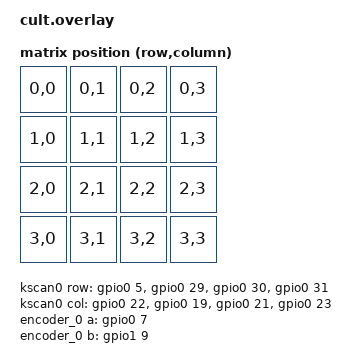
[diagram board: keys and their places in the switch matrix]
#include <dt-bindings/zmk/matrix_transform.h>
#include <dt-bindings/led/led.h>

/ {
    chosen {
        zmk,kscan            = &kscan0;
        zmk,matrix_transform = &default_transform;
        zmk,underglow        = &led_strip;
        zephyr,display       = &oled;
    };

    default_transform: keymap_transform_0 {
        compatible = "zmk,matrix-transform";
        columns = <4>;
        rows    = <4>;
        map = 
            RC(0,0) RC(0,1) RC(0,2) RC(0,3)
            RC(1,0) RC(1,1) RC(1,2) RC(1,3)
            RC(2,0) RC(2,1) RC(2,2) RC(2,3)
            RC(3,0) RC(3,1) RC(3,2) RC(3,3)
        >;
    };

    kscan0: kscan_0 {
        compatible = "zmk,kscan-gpio-matrix";
        diode-direction = "col2row";
        row-gpios
            = <&gpio0  5 (GPIO_ACTIVE_HIGH | GPIO_PULL_DOWN)>
            , <&gpio0 29 (GPIO_ACTIVE_HIGH | GPIO_PULL_DOWN)>
            , <&gpio0 30 (GPIO_ACTIVE_HIGH | GPIO_PULL_DOWN)>
            , <&gpio0 31 (GPIO_ACTIVE_HIGH | GPIO_PULL_DOWN)>
            ;
        col-gpios
            = <&gpio0 22 GPIO_ACTIVE_HIGH>
            , <&gpio0 19 GPIO_ACTIVE_HIGH>
            , <&gpio0 21 GPIO_ACTIVE_HIGH>
            , <&gpio0 23 GPIO_ACTIVE_HIGH>
            ;
    };

    encoder_0: encoder_0 {
        compatible = "alps,ec11";
        a-gpios = <&gpio0 7 (GPIO_ACTIVE_LOW | GPIO_PULL_UP)>;
        b-gpios = <&gpio1 9 (GPIO_ACTIVE_LOW | GPIO_PULL_UP)>;
        status = "okay";
    };

    zmk_sensors: zmk_sensors {
        compatible = "zmk,keymap-sensors";
        sensors = <&encoder_0>;
    };
};

&pinctrl {
    spi3_default: spi3_default {
        group1 {
            psels = <NRF_PSEL(SPIM_MOSI, 0, 12)>;
        };
    };
    spi3_sleep: spi3_sleep {
        group1 {
            psels = <NRF_PSEL(SPIM_MOSI, 0, 12)>;
            low-power-enable;
        };
    };

    i2c0_default: i2c0_default {
        group1 {
            psels = <NRF_PSEL(TWIM_SDA, 0, 28)>,
                    <NRF_PSEL(TWIM_SCL, 0, 2)>;
        };
    };
    i2c0_sleep: i2c0_sleep {
        group1 {
            psels = <NRF_PSEL(TWIM_SDA, 0, 28)>,
                    <NRF_PSEL(TWIM_SCL, 0, 2)>;
            low-power-enable;
        };
    };
};

&spi3 {
    compatible = "nordic,nrf-spim";
    status = "okay";
    pinctrl-0 = <&spi3_default>;
    pinctrl-1 = <&spi3_sleep>;
    pinctrl-names = "default", "sleep";

    led_strip: ws2812@0 {
        compatible = "worldsemi,ws2812-spi";
        reg = <0>;
        spi-max-frequency = <4000000>;
        chain-length = <25>;
        reset-delay = <80>;
        spi-one-frame  = <0x70>;
        spi-zero-frame = <0x40>;
        color-mapping  = <LED_COLOR_ID_GREEN
                          LED_COLOR_ID_RED
                          LED_COLOR_ID_BLUE>;
    };
};

&i2c0 {
    compatible = "nordic,nrf-twim";
    status = "okay";
    pinctrl-0 = <&i2c0_default>;
    pinctrl-1 = <&i2c0_sleep>;
    pinctrl-names = "default", "sleep";
    clock-frequency = <I2C_BITRATE_STANDARD>;

    oled: ssd1306@3c {
        compatible = "solomon,ssd1306fb";
        reg = <0x3c>;
        width = <128>;
        height = <32>;
        segment-offset = <0>;
        page-offset = <0>;
        display-offset = <32>;   /* changed from 0 to 32 */
        multiplex-ratio = <31>;
        segment-remap;
        com-invdir;
        com-sequential;
        prechargep = <0x22>;
    };
};
